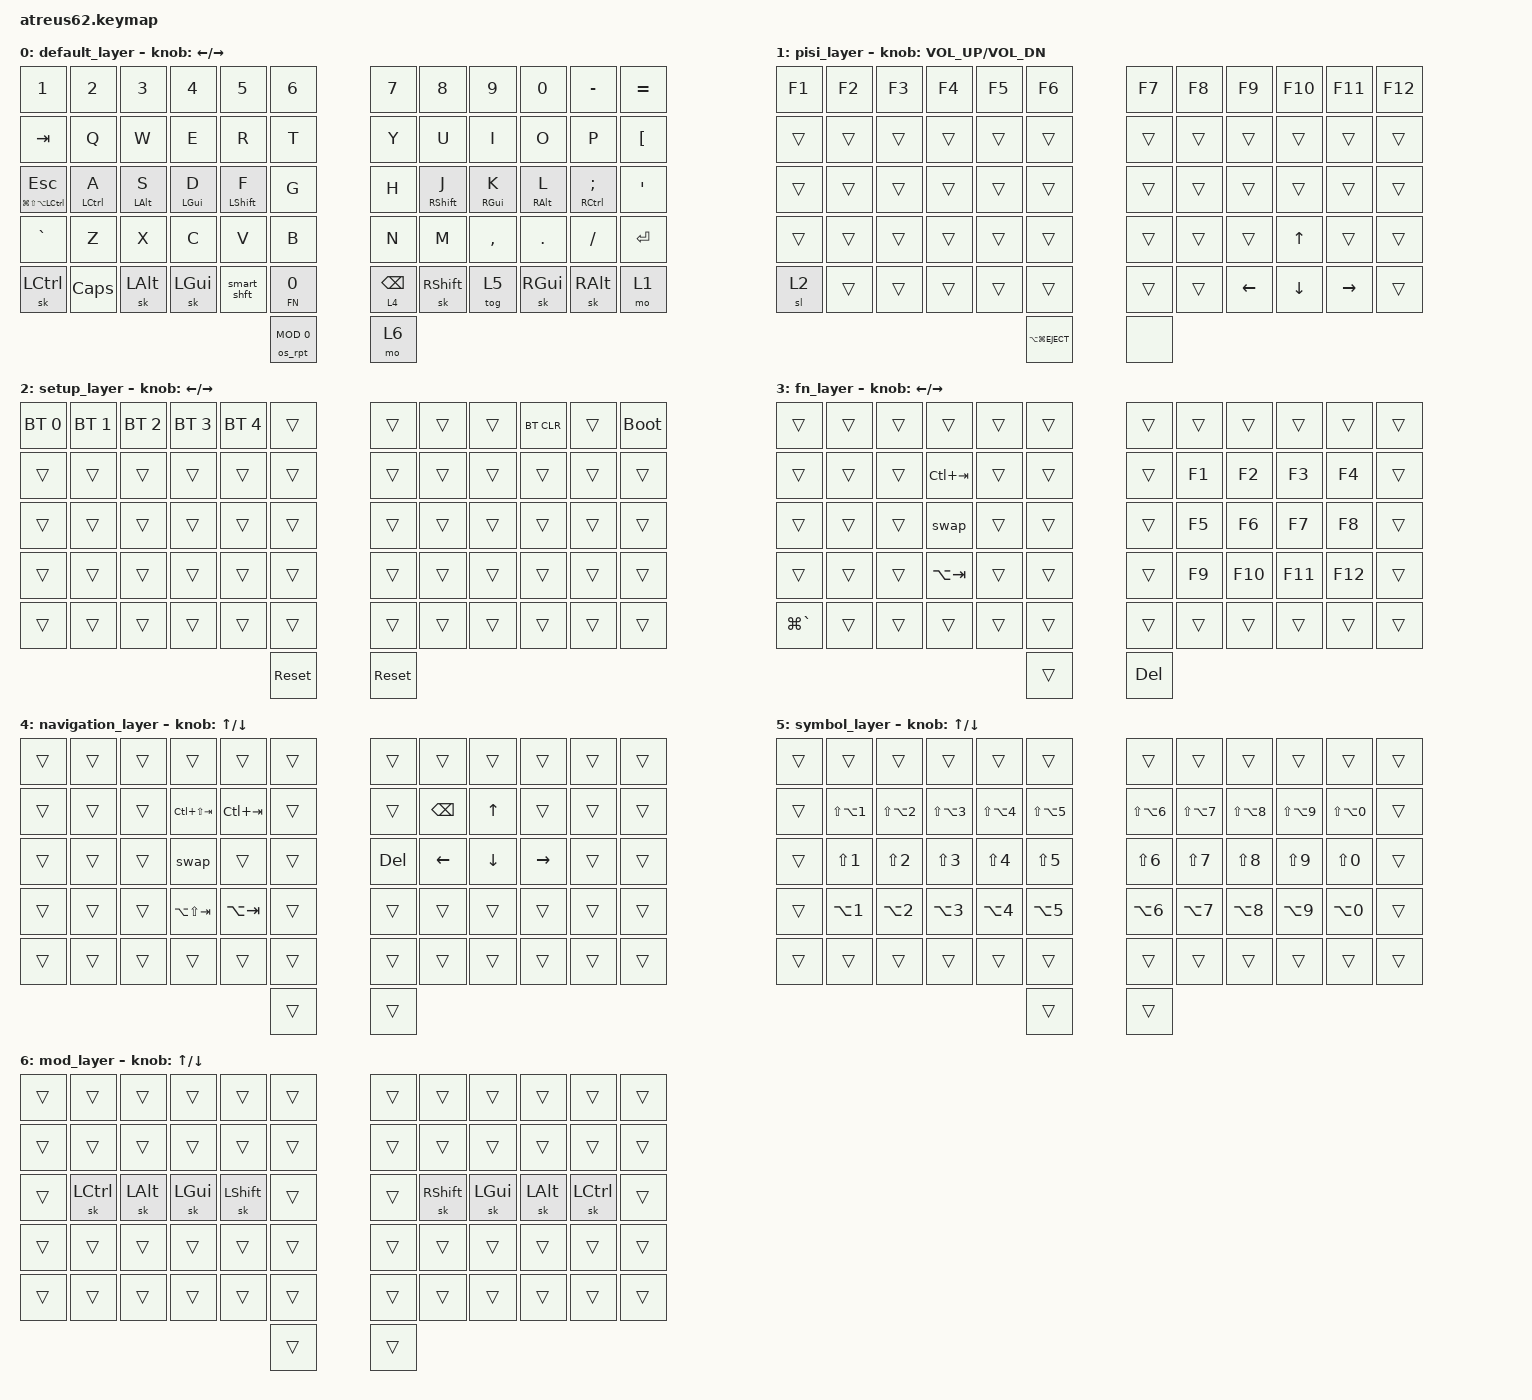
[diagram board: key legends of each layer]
#include <behaviors.dtsi>
#include <dt-bindings/zmk/keys.h>
#include <dt-bindings/zmk/bt.h>

#include "../../zmk-nodefree-config/helper.h"
#include "../../zmk-nodefree-config/keypos_def/keypos_62keys.h"

#define DEF 0
#define PISI 1
#define SYS 2
#define FN 3
#define NAV 4
#define SYM 5
#define MOD 6

#include "combos.dtsi"  // requires layer aliases
//#include "mouse.dtsi"

/* Special keycodes */
#define XXX &none
#define ___ &trans
#define HYPER LG(LS(LA(LCTRL)))

// Symbols
#define SA_1 LS(LA(N1))
#define SA_2 LS(LA(N2))
#define SA_3 LS(LA(N3))
#define SA_4 LS(LA(N4))
#define SA_5 LS(LA(N5))
#define SA_6 LS(LA(N6))
#define SA_7 LS(LA(N7))
#define SA_8 LS(LA(N8))
#define SA_9 LS(LA(N9))
#define SA_0 LS(LA(N0))

/* Global settings */

#define QUICK_TAP_MS 175

&sk {  // sticky-key config
    release-after-ms = <900>;  // release after 0.9s
    quick-release;             // no double capitalization when rolling keys
};

&sl {  // sticky-layer config
    ignore-modifiers;          // allow chording sticky mods & layers
};

&lt {  // layer-tap config
    flavor = "balanced";
    tapping-term-ms = <200>;
    quick-tap-ms = <QUICK_TAP_MS>;
};

/* Homerow mods */

#define KEYS_L LT0 LT1 LT2 LT3 LT4 LT5 LM0 LM1 LM2 LM3 LM4 LM5 LB0 LB1 LB2 LB3 LB4 LB5 LF0 LF1 LF2 LF3 LF4 LF5  // left hand
#define KEYS_R RT0 RT1 RT2 RT3 RT4 RT5 RM0 RM1 RM2 RM3 RM4 RM5 RB0 RB1 RB2 RB3 RB4 RB5 RF0 RF1 RF2 RF3 RF4 RF5  // right hand
#define THUMBS LH0 LH1 LH2 LH3 LH4 LH5 RH0 RH1 RH2 RH3 RH4 RH5                                                  // thumbs

#define MAKE_HRM(NAME, HOLD, TAP, TRIGGER_POS) \
    ZMK_BEHAVIOR(NAME, hold_tap, \
        flavor = "balanced"; \
        tapping-term-ms = <280>; \
        quick-tap-ms = <QUICK_TAP_MS>; \
        require-prior-idle-ms = <150>; \
        bindings = <HOLD>, <TAP>; \
        hold-trigger-key-positions = <TRIGGER_POS>; \
        hold-trigger-on-release; \
    )
MAKE_HRM(hml, &kp, &kp, KEYS_R THUMBS)  // left-hand HRMs
MAKE_HRM(hmr, &kp, &kp, KEYS_L THUMBS)  // right-hand HRMs

//MAKE_HRM(hml_repeat, &kp, &key_repeat, KEYS_R THUMBS)  // used for HRM-combo (from urob's config)
//MAKE_HRM(hmr_lpar_lt, &kp, &lpar_lt, KEYS_L THUMBS)    // "    "   "   "      "   "       "
//MAKE_HRM(hmr_rpar_gt, &kp, &rpar_gt, KEYS_L THUMBS)    // "    "   "   "      "   "       "

// One-shot mod repeat key
ZMK_BEHAVIOR(os_rpt, hold_tap,
    flavor = "balanced";
    tapping-term-ms = <200>;
    quick-tap-ms = <QUICK_TAP_MS>;
    bindings = <&mo>, <&key_repeat>;
)

/* Caps-word, num-word and smart-mouse */

// tap: sticky-shift | shift + tap/ double-tap: caps-word | hold: shift
ZMK_BEHAVIOR(smart_shft, mod_morph,
    bindings = <&sk LSHFT>, <&caps_word>;
    mods = <(MOD_LSFT)>;
)
&caps_word {  // mods deactivate caps-word, requires PR #1441
    /delete-property/ ignore-modifiers;
};

/* Custom behaviors */

// Alt+Tab swapper, requires PR #1366
ZMK_BEHAVIOR(swap, tri_state,
    bindings = <&kt LGUI>, <&kp TAB>, <&kt LGUI>;
    ignored-key-positions = <LB1 LH1>;
)

ZMK_BEHAVIOR(swap_P, tri_state,
    bindings = <&kt LGUI>, <&kp LS(TAB)>, <&kt LGUI>;
    //ignored-key-positions = <LT2>;
)

// Sticky layer + sticky shift (workaround for issue #1421)
//ZMK_BEHAVIOR(sls, sticky_key,
//    release-after-ms = <1000>;
//    bindings = <&uc_shift>;
//    ignore-modifiers;
//)
//ZMK_BEHAVIOR(uc_shift, macro,
//    wait-ms = <0>;
//    tap-ms = <1>;
//    bindings = <&macro_press &mo UC &kp LSHFT>
//             , <&macro_pause_for_release>
//             , <&macro_release &mo UC &kp LSHFT>;
//)

// tap: backspace | lshft + tap: delete | rshft + tap: shift-delete
ZMK_BEHAVIOR(bs_del, mod_morph,
    bindings = <&kp BSPC>, <&kp DEL>;
    mods = <(MOD_LSFT|MOD_RSFT)>;
    keep-mods = <MOD_RSFT>;
)

// tap: space | shift + tap: dot -> space -> sticky shift | hold: activate layer
ZMK_BEHAVIOR(dot_spc, macro,
    wait-ms = <0>;
    tap-ms = <5>;
    bindings = <&kp DOT &kp SPACE &sk LSHFT>;
)
ZMK_BEHAVIOR(spc_morph, mod_morph,
    bindings = <&kp SPACE>, <&dot_spc>;
    mods = <(MOD_LSFT|MOD_RSFT)>;
)
ZMK_BEHAVIOR(lt_spc, hold_tap,
    flavor = "balanced";
    tapping-term-ms = <200>;
    quick-tap-ms = <QUICK_TAP_MS>;
    bindings = <&mo>, <&spc_morph>;
)
// tap: space | double tap: dot -> space -> sticky shift
ZMK_BEHAVIOR(dot_ios, tap_dance,
    tapping-term-ms = <200>;
    bindings = <&kp DOT>, <&dot_spc>;
)


// misc aliases
#define CANCEL      &kp K_CANCEL             // cancel caps-word, num-word and smart-mouse
#define DSK_PREV    &hmr RSHFT LG(LC(LEFT))  // previous desktop
#define DSK_NEXT    &hmr LALT LG(LC(RIGHT))  // next     desktop
#define VOL_DOWN    &hmr LCTRL C_VOL_DN

/ {
   
    conditional_layers {
        compatible = "zmk,conditional-layers";
        tri_layer {
            if-layers = <3 4>;
            then-layer = <5>;
        };
    };


    keymap {
        compatible = "zmk,keymap";

        default_layer {
// ------------------------------------------------------------------------------------------------------------
// |   1   |  2  |  3  |  4   |  5   |  6   |                   |  7   |  8    |  9    |  0   |   X   |   Q   |
// |  TAB  |  Q  |  W  |  E   |  R   |  T   |                   |  Y   |  U    |  I    |  O   |   P   |   ;   |
// |H & ESC|  A  |  S  |  D   |  F   |  G   |                   |  H   |  J    |  K    |  L   |   ;   |   '   |
// | SHIFT |  Z  |  X  |  C   |  V   |  B   |                   |  N   |  M    |  B    |  .   |   ,   |   >   |
// | LCTL  | LGUI  | LALT |  GRAV |  | EQL  | DEL | BKSP| | RET | SPC  | LBKT |  RBKT  | LBKT | HOME  |  MO 1 |

            bindings = <
//╭─────────────┬────────────┬───────────┬───────────┬────────────┬───────────╮ ╭──╮ ╭──────────┬─────────────┬──────────┬───────────┬───────────────┬─────────╮
   &kp N1        &kp N2       &kp N3      &kp N4      &kp N5       &kp N6             &kp N7     &kp N8       &kp N9      &kp N0      &kp MINUS       &kp EQUAL
//├─────────────┼────────────┼───────────┼───────────┼────────────┼───────────┤      ├──────────┼────────────┼───────────┼───────────┼───────────────┼─────────┤
   &kp TAB       &kp Q        &kp W       &kp E       &kp R        &kp T              &kp Y      &kp U        &kp I       &kp O       &kp P           &kp LBKT
//├─────────────┼────────────┼───────────┼───────────┼────────────┼───────────┤      ├──────────┼────────────┼───────────┼───────────┼───────────────┼─────────┤
   &mt HYPER ESC &hml LCTRL A &hml LALT S &hml LGUI D &hml LSHFT F &kp G              &kp H      &hmr RSHFT J &hmr RGUI K &hmr RALT L &hmr RCTRL SEMI &kp SQT
//├─────────────┼────────────┼───────────┼───────────┼────────────┼───────────┤      ├──────────┼────────────┼───────────┼───────────┼───────────────┼─────────┤
   &kp GRAVE     &kp Z        &kp X       &kp C       &kp V        &kp B              &kp N      &kp M        &kp COMMA   &kp DOT     &kp FSLH        &kp RET
//├─────────────┼────────────┼───────────┼───────────┼────────────┼───────────┤      ├──────────┼────────────┼───────────┼───────────┼───────────────┼─────────┤
   &sk LCTRL     &kp CAPS     &sk LALT    &sk LGUI    &smart_shft  &lt_spc FN 0       &lt 4 BSPC &sk RSHFT    &tog 5      &sk RGUI    &sk RALT        &mo 1
//├─────────────┼────────────┼───────────┼───────────┼────────────┼───────────┤      ├──────────┼────────────┼───────────┼───────────┼───────────────┼─────────┤
                                                                   &os_rpt MOD 0      &mo 6
//                                                                ╰───────────╯ ╰──╯ ╰──────────╯                                           
            >;
            sensor-bindings = <&inc_dec_kp LEFT RIGHT>;
        };
        
        pisi_layer {
// ------------------------------------------------------------------------------------------------------------
// |  F1   |  F2 | F3  | F4   | F5   | F6   |                   |  F7  |  F8   |  F9   | F10  | F11   | F12   |
// |       |     |     |      |      |      |                   |      |       |       |      |       |       |
// |       |     |     |      |      |      |                   |      |       |       |      |       |       |
// |       |     |     |      |      |      |                   |      |       |       |      |       |       |
// | TOG 2 |     |     |      |      |      |       |    |      |      |       |       |      |       |       |

            bindings = <
//╭───────┬───────┬───────┬───────┬───────┬───────────────────╮ ╭──╮ ╭───────┬───────┬────────┬────────┬─────────┬───────╮
   &kp F1  &kp F2  &kp F3  &kp F4  &kp F5  &kp F6                     &kp F7  &kp F8  &kp F9   &kp F10  &kp F11   &kp F12
//├───────┼───────┼───────┼───────┼───────┼───────────────────┤      ├───────┼───────┼────────┼────────┼─────────┼───────┤
   ___     ___     ___     ___     ___     ___                        ___     ___     ___      ___      ___       ___
//├───────┼───────┼───────┼───────┼───────┼───────────────────┤      ├───────┼───────┼────────┼────────┼─────────┼───────┤
   ___     ___     ___     ___     ___     ___                        ___     ___     ___      ___      ___       ___
//├───────┼───────┼───────┼───────┼───────┼───────────────────┤      ├───────┼───────┼────────┼────────┼─────────┼───────┤
   ___     ___     ___     ___     ___     ___                        ___     ___     ___      &kp UP   ___       ___
//├───────┼───────┼───────┼───────┼───────┼───────────────────┤      ├───────┼───────┼────────┼────────┼─────────┼───────┤
   &sl 2   ___     ___     ___     ___     ___                        ___     ___     &kp LEFT &kp DOWN &kp RIGHT ___
                                           &kp LA(LG(C_EJECT))        XXX 
//                                        ╰───────────────────╯ ╰──╯ ╰──────────╯ 
            >;
            sensor-bindings = <&inc_dec_kp C_VOL_UP C_VOL_DN>;
        };

        setup_layer {
            bindings = <
//╭────────────┬────────────┬────────────┬────────────┬────────────┬──────────╮ ╭──╮ ╭──────────┬───────┬────────┬──────────┬─────────┬───────────╮
   &bt BT_SEL 0 &bt BT_SEL 1 &bt BT_SEL 2 &bt BT_SEL 3 &bt BT_SEL 4 ___               ___        ___     ___      &bt BT_CLR ___       &bootloader
//├────────────┼────────────┼────────────┼────────────┼────────────┼──────────┤      ├──────────┼───────┼────────┼──────────┼─────────┼───────────┤
   ___          ___          ___          ___          ___          ___               ___        ___     ___      ___        ___       ___
//├────────────┼────────────┼────────────┼────────────┼────────────┼──────────┤      ├──────────┼───────┼────────┼──────────┼─────────┼───────────┤
   ___          ___          ___          ___          ___          ___               ___        ___     ___      ___        ___       ___
//├────────────┼────────────┼────────────┼────────────┼────────────┼──────────┤      ├──────────┼───────┼────────┼──────────┼─────────┼───────────┤
   ___          ___          ___          ___          ___          ___               ___        ___     ___      ___        ___       ___
//├────────────┼────────────┼────────────┼────────────┼────────────┼──────────┤      ├──────────┼───────┼────────┼──────────┼─────────┼───────────┤
   ___          ___          ___          ___          ___          ___               ___        ___     ___      ___        ___       ___
//├────────────┼────────────┼────────────┼────────────┼────────────┼──────────┤      ├──────────┼───────┼────────┼──────────┼─────────┼───────────┤
                                                                    &sys_reset        &sys_reset
//                                                                 ╰──────────╯ ╰──╯ ╰──────────╯
            >;
            sensor-bindings = <&inc_dec_kp LEFT RIGHT>;
        };

        fn_layer {
            bindings = <
//╭───┬────┬────┬─────────────┬────┬────╮ ╭───────╮ ╭────────┬────────┬────────┬────────┬─────────┬───╮
   ___  ___  ___  ___          ___  ___              ___      ___      ___      ___      ___       ___
//├───┼─────┼────┼────────────┼────┼────┤           ├────────┼────────┼────────┼────────┼─────────┼───┤
   ___  ___  ___  &kp LC(TAB)  ___  ___              ___      &kp F1   &kp F2   &kp F3   &kp F4    ___
//├───┼─────┼────┼────────────┼────┼────┤           ├────────┼────────┼────────┼────────┼─────────┼───┤
   ___  ___  ___  &swap        ___  ___              ___      &kp F5   &kp F6   &kp F7   &kp F8    ___
//├───┼─────┼────┼────────────┼────┼────┤           ├────────┼────────┼────────┼────────┼─────────┼───┤
   ___  ___  ___  &kp LA(TAB)  ___  ___              ___      &kp F9   &kp F10  &kp F11  &kp F12   ___
//├───┼─────┼────┼────────────┼────┼────┤           ├────────┼────────┼────────┼────────┼─────────┼───┤
   &kp LG(GRAVE)  ___  ___  ___          ___  ___              ___      ___      ___      ___      ___       ___
//├───┼─────┼────┼────────────┼────┼────┤           ├────────┼────────┼────────┼────────┼─────────┼───┤ 
                                    ___              &kp DEL
//                                 ╰────╯ ╰───────╯ ╰────────╯
            >;
            sensor-bindings = <&inc_dec_kp LEFT RIGHT>;
        };

        navigation_layer {
            bindings = <
//╭────┬────┬────┬───────────────┬───────────┬────╮ ╭──╮ ╭────────┬─────────┬─────────┬──────────┬────┬────╮
   ___  ___  ___  ___             ___         ___         ___      ___       ___        ___       ___  ___
//├────┼────┼────┼───────────────┼───────────┼────┤      ├────────┼─────────┼─────────┼──────────┼────┼────┤ 
   ___  ___  ___  &kp LC(LS(TAB)) &kp LC(TAB) ___         ___      &kp BSPC  &kp UP    ___        ___  ___
//├────┼────┼────┼───────────────┼───────────┼────┤      ├────────┼─────────┼─────────┼──────────┼────┼────┤ 
   ___  ___  ___  &swap           ___      ___            &kp DEL  &kp LEFT  &kp DOWN  &kp RIGHT  ___  ___
//├────┼────┼────┼───────────────┼───────────┼────┤      ├────────┼─────────┼─────────┼──────────┼────┼────┤ 
   ___  ___  ___  &kp LA(LS(TAB)) &kp LA(TAB) ___         ___      ___       ___       ___        ___  ___
//├────┼────┼────┼───────────────┼───────────┼────┤      ├────────┼─────────┼─────────┼──────────┼────┼────┤ 
   ___  ___  ___  ___          ___      ___         ___  ___   ___   ___    ___ ___
//├────┼────┼────┼───────────────┼───────────┼────┤      ├────────┼─────────┼─────────┼──────────┼────┼────┤
                                              ___         ___
//                                           ╰────╯ ╰──╯ ╰────────╯
            >;
            sensor-bindings = <&inc_dec_kp UP DOWN>;
        };

        symbol_layer {
            bindings = <
//╭───┬──────────┬──────────┬──────────┬──────────┬──────────╮ ╭──╮ ╭──────────┬──────────┬──────────┬──────────┬──────────┬───╮
   ___ ___        ___        ___        ___        ___               ___        ___        ___        ___         ___       ___
//├───┼──────────┼──────────┼──────────┼──────────┼──────────┤      ├──────────┼──────────┼──────────┼──────────┼──────────┼───┤ 
   ___ &kp SA_1   &kp SA_2   &kp SA_3   &kp SA_4   &kp SA_5          &kp SA_6   &kp SA_7   &kp SA_8   &kp SA_9   &kp SA_0   ___
//├───┼──────────┼──────────┼──────────┼──────────┼──────────┤      ├──────────┼──────────┼──────────┼──────────┼──────────┼───┤ 
   ___ &kp LS(N1) &kp LS(N2) &kp LS(N3) &kp LS(N4) &kp LS(N5)        &kp LS(N6) &kp LS(N7) &kp LS(N8) &kp LS(N9) &kp LS(N0) ___
//├───┼──────────┼──────────┼──────────┼──────────┼──────────┤      ├──────────┼──────────┼──────────┼──────────┼──────────┼───┤ 
   ___ &kp LA(N1) &kp LA(N2) &kp LA(N3) &kp LA(N4) &kp LA(N5)        &kp LA(N6) &kp LA(N7) &kp LA(N8) &kp LA(N9) &kp LA(N0) ___
//├───┼──────────┼──────────┼──────────┼──────────┼──────────┤      ├──────────┼──────────┼──────────┼──────────┼──────────┼───┤ 
   ___ ___        ___        ___        ___        ___               ___        ___        ___        ___        ___        ___
//├───┼──────────┼──────────┼──────────┼──────────┼──────────┤      ├──────────┼──────────┼──────────┼──────────┼──────────┼───┤ 
                                                   ___               ___
//                                                ╰──────────╯ ╰──╯ ╰──────────╯
            >;
            sensor-bindings = <&inc_dec_kp UP DOWN>;
        };

        mod_layer {
            bindings = <
//╭────┬─────────┬────────┬────────┬─────────┬────╮ ╭──╮ ╭────┬─────────┬────────┬────────┬─────────┬────╮
   ___  ___       ___      ___      ___       ___         ___  ___       ___      ___      ___       ___
//├────┼─────────┼────────┼────────┼─────────┼────┤      ├────┼─────────┼────────┼────────┼─────────┼────┤
   ___  ___       ___      ___      ___       ___         ___  ___       ___      ___      ___       ___
//├────┼─────────┼────────┼────────┼─────────┼────┤      ├────┼─────────┼────────┼────────┼─────────┼────┤ 
   ___  &sk LCTRL &sk LALT &sk LGUI &sk LSHFT ___         ___  &sk RSHFT &sk LGUI &sk LALT &sk LCTRL ___
//├────┼─────────┼────────┼────────┼─────────┼────┤      ├────┼─────────┼────────┼────────┼─────────┼────┤ 
   ___  ___       ___      ___      ___       ___         ___  ___       ___      ___      ___       ___
//├────┼─────────┼────────┼────────┼─────────┼────┤      ├────┼─────────┼────────┼────────┼─────────┼────┤ 
   ___  ___       ___      ___      ___       ___         ___  ___       ___      ___      ___       ___
//├────┼─────────┼────────┼────────┼─────────┼────┤      ├────┼─────────┼────────┼────────┼─────────┼────┤
                                              ___         ___
//                                           ╰────╯ ╰──╯ ╰────╯
            >;
            sensor-bindings = <&inc_dec_kp UP DOWN>;
        };


//___ ___ ___ ___ ___ ___                             ___ ___ ___ ___ ___ ___
//___ ___ ___ ___ ___ ___                             ___ ___ ___ ___ ___ ___
//___ ___ ___ ___ ___ ___                             ___ ___ ___ ___ ___ ___
//___ ___ ___ ___ ___ ___                             ___ ___ ___ ___ ___ ___
//___ ___ ___ ___ ___ ___                             ___ ___ ___ ___ ___ ___
//                                   ___                             ___


    };
};
